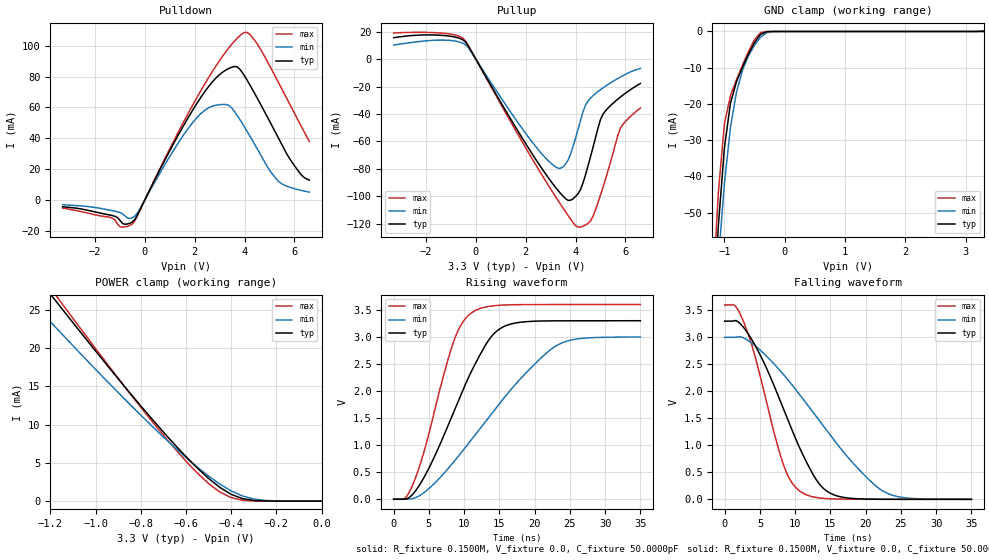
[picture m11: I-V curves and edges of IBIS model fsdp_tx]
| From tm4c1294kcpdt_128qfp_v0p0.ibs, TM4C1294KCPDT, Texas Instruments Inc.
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|   Model fsdp_tx
[Model]   fsdp_tx
Model_type   3-state
Polarity   Non-Inverting
Enable   Active-Low
C_comp   7.0000pF   7.0000pF   7.0000pF
[Model Spec]
Vmeas 1.65 1.5 1.8
[Temperature Range]   27.0000   0.1250k   -40.0000
[Voltage Range]   3.3000V   3.0000V   3.6000V
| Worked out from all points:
|   slope of the pulldown table from 0 to 0.495 V, typ, clamps not added: 30.8 ohm
|   slope of the pullup table from 0 to 0.495 V, typ, clamps not added: 31.5 ohm
|   GND clamp passes 1 mA (typ) near -0.41 V on its own axis
|   POWER clamp passes 1 mA (typ) near -0.41 V on its own axis
|   rising waveform, R_fixture 0.1500M, V_fixture 0.0, C_fixture 50.0000pF: 20-80 % time 6.8ns typ, 11.3ns min, 4.48ns max; typ from 0 V to 3.3 V
|   falling waveform, R_fixture 0.1500M, V_fixture 0.0, C_fixture 50.0000pF: 20-80 % time 6.56ns typ, 11ns min, 4.34ns max; typ from 3.3 V to 0 V
[Pulldown]
|Voltage   I(typ)   I(min)   I(max)
-3.3V     -4.49mA    -3.18mA    -5.372mA
-1.3V     -10.21mA   -7.016mA   -11.87mA
-1V       -13.27mA   -8.238mA   -17.5mA
-500mV    -14.33mA   -11.59mA   -15.56mA
2.3V      67.82mA    56.8mA     72.41mA
3.3V      84.78mA    61.83mA    97.25mA
3.7V      86.41mA    54.97mA    104.8mA
4V        80.5mA     47.29mA    108.8mA
4.5V      66.35mA    33.43mA    101.5mA
5.4V      38.93mA    11.49mA    75.02mA
6.2V      17.82mA    6.445mA    50.17mA
6.6V      12.82mA    5.037mA    37.88mA
[Pullup]
|Voltage   I(typ)   I(min)   I(max)
-3.3V     15.73mA    10.41mA    19.17mA
-1.6V     17.68mA    13.93mA    19.39mA
-500mV    13.9mA     11.53mA    15.1mA
2V        -61.66mA   -54.17mA   -64.7mA
3.1V      -91.31mA   -77.27mA   -97.58mA
3.6V      -101.8mA   -76.54mA   -111.4mA
4.1V      -98.15mA   -51.11mA   -122.6mA
4.4V      -84.25mA   -33.4mA    -121mA
4.6V      -71.13mA   -28.33mA   -118.1mA
5.1V      -40.19mA   -20.89mA   -93.51mA
5.8V      -27.57mA   -12.99mA   -50.34mA
6.6V      -17.66mA   -6.716mA   -35.62mA
[GND_clamp]
|Voltage   I(typ)   I(min)   I(max)
-3.3V     -782mA     -691.8mA   -849.7mA
-1.2V     -81.21mA   -87.89mA   -73.74mA
-1.1V     -53.46mA   -63.22mA   -44.36mA
-1V       -32.12mA   -41.94mA   -25.46mA
-900mV    -19.78mA   -26.42mA   -17.7mA
-800mV    -13.86mA   -16.76mA   -13.31mA
-700mV    -9.821mA   -10.67mA   -9.261mA
-600mV    -6.194mA   -6.67mA    -5.473mA
-500mV    -3.012mA   -3.762mA   -2.229mA
-400mV    -781.4uA   -1.558mA   -310.6uA
-200mV    -1.921uA   -32.16uA   -238.5nA
3.3V      198.9nA    275.2uA    240.3nA
[POWER_clamp]
|Voltage   I(typ)   I(min)   I(max)
-3.3V     128.2mA    118.7mA    139.8mA
-1.3V     30.83mA    26.64mA    31.9mA
-1.25V    28.94mA    25.04mA    29.88mA
-1.2V     27.06mA    23.45mA    27.87mA
-1.15V    25.18mA    21.88mA    25.87mA
-750mV    10.71mA    9.793mA    10.42mA
-600mV    5.81mA     5.697mA    5.218mA
-500mV    2.966mA    3.271mA    2.299mA
-400mV    885uA      1.333mA    454.5uA
-350mV    328.3uA    673uA      118.8uA
-250mV    20.25uA    94.06uA    3.223uA
0V        198.9nA    574.7nA    247.2nA
[Ramp]
| variable   typ   min   max
dV/dt_r   1.9796/6.0022n   1.7995/10.3439n   2.1595/3.6846n
dV/dt_f   1.9796/5.8954n   1.7995/10.1209n   2.1595/3.5960n
R_load =   0.1500M
[Rising Waveform]
R_fixture=  0.1500M
V_fixture=  0.0
V_fixture_min=  0.0
V_fixture_max=  0.0
C_fixture=  50.0000pF
|time   V(typ)   V(min)   V(max)
0s        35.11uV    27.5uV     52.25uV
1.577ns   2.192mV    1.006mV    18.9mV
2.803ns   106.1mV    15.9mV     296mV
4.379ns   420.8mV    131.2mV    911mV
8.408ns   1.58V      673.1mV    2.874V
10.9ns    2.328V     1.077V     3.431V
13.38ns   2.923V     1.496V     3.561V
15.14ns   3.156V     1.788V     3.586V
22.98ns   3.298V     2.831V     3.599V
35ns      3.299V     2.999V     3.599V
[Falling Waveform]
R_fixture=  0.1500M
V_fixture=  0.0
V_fixture_min=  0.0
V_fixture_max=  0.0
C_fixture=  50.0000pF
|time   V(typ)   V(min)   V(max)
0s        3.299V     2.999V     3.599V
1.436ns   3.31V      3V         3.588V
2.733ns   3.175V     2.986V     3.272V
4.239ns   2.868V     2.853V     2.68V
8.163ns   1.733V     2.339V     708.4mV
10.55ns   978.2mV    1.955V     163mV
12.93ns   375.3mV    1.545V     35.73mV
14.68ns   135.3mV    1.242V     11.78mV
22.42ns   1.324mV    155.7mV    310.6uV
35ns      52.66uV    290.4uV    26.4uV
